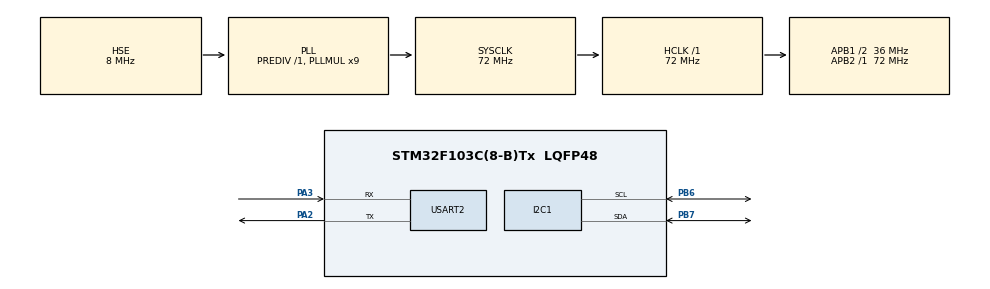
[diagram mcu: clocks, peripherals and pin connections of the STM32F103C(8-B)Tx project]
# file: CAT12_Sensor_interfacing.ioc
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Mcu.Family=STM32F1
Mcu.Name=STM32F103C(8-B)Tx
Mcu.Package=LQFP48
NVIC.PriorityGroup=NVIC_PRIORITYGROUP_4
PA13.Mode=Serial_Wire
PA13.Signal=SYS_JTMS-SWDIO
PA14.Mode=Serial_Wire
PA14.Signal=SYS_JTCK-SWCLK
PA2.Mode=Asynchronous
PA2.Signal=USART2_TX
PA3.Mode=Asynchronous
PA3.Signal=USART2_RX
PB6.Mode=I2C
PB6.Signal=I2C1_SCL
PB7.Mode=I2C
PB7.Signal=I2C1_SDA
PD0-OSC_IN.Mode=HSE-External-Oscillator
PD0-OSC_IN.Signal=RCC_OSC_IN
PD1-OSC_OUT.Mode=HSE-External-Oscillator
PD1-OSC_OUT.Signal=RCC_OSC_OUT
ProjectManager.HeapSize=0x200
ProjectManager.StackSize=0x400
ProjectManager.TargetToolchain=MDK-ARM V5.32
RCC.AHBFreq_Value=72000000
RCC.APB1CLKDivider=RCC_HCLK_DIV2
RCC.APB1Freq_Value=36000000
RCC.APB1TimFreq_Value=72000000
RCC.APB2Freq_Value=72000000
RCC.APB2TimFreq_Value=72000000
RCC.HCLKFreq_Value=72000000
RCC.PLLMUL=RCC_PLL_MUL9
RCC.PLLSourceVirtual=RCC_PLLSOURCE_HSE
RCC.SYSCLKFreq_VALUE=72000000
RCC.SYSCLKSource=RCC_SYSCLKSOURCE_PLLCLK
RCC.USBFreq_Value=72000000
USART2.VirtualMode=VM_ASYNC
board=custom

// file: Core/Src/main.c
/* USER CODE BEGIN Header */
/**
  ******************************************************************************
  * @file           : main.c
  * @brief          : Main program body
  ******************************************************************************
  * @attention
  *
  * Copyright (c) 2026 STMicroelectronics.
  * All rights reserved.
  *
  * This software is licensed under terms that can be found in the LICENSE file
  * in the root directory of this software component.
  * If no LICENSE file comes with this software, it is provided AS-IS.
  *
  ******************************************************************************
  */
/* USER CODE END Header */
#include "main.h"

/* USER CODE BEGIN Includes */
#include "bme280.h"
#include <stdio.h>
/* USER CODE END Includes */

I2C_HandleTypeDef hi2c1;

UART_HandleTypeDef huart2;

/* USER CODE BEGIN PV */
struct bme280_dev dev;
struct bme280_data comp_data;
struct bme280_settings settings;
int8_t rslt = BME280_OK;

// Variables to store final calculated values
float temperature, pressure, humidity;
char http_response[300];

/* USER CODE END PV */

void SystemClock_Config(void);
static void MX_GPIO_Init(void);
static void MX_I2C1_Init(void);
static void MX_USART2_UART_Init(void);

/* USER CODE BEGIN PFP */
int8_t user_i2c_read(uint8_t reg_addr, uint8_t *reg_data, uint32_t len, void *intf_ptr);
int8_t user_i2c_write(uint8_t reg_addr, const uint8_t *reg_data, uint32_t len, void *intf_ptr);
void user_delay_us(uint32_t period, void *intf_ptr);
/* USER CODE END PFP */

int main(void)
{

  /* MCU Configuration--------------------------------------------------------*/

  /* Reset of all peripherals, Initializes the Flash interface and the Systick. */
  HAL_Init();

  /* Configure the system clock */
  SystemClock_Config();

  /* Initialize all configured peripherals */
  MX_GPIO_Init();
  MX_I2C1_Init();
  MX_USART2_UART_Init();
  /* USER CODE BEGIN 2 */
	static uint8_t dev_addr = BME280_I2C_ADDR_PRIM; // 0x76 (use BME280_I2C_ADDR_SEC if SDO is high)
	// Set up the API configuration function pointers
	dev.intf_ptr = &dev_addr;
	dev.intf = BME280_I2C_INTF;
	dev.read = user_i2c_read;
	dev.write = user_i2c_write;
	dev.delay_us = user_delay_us;
	// Initialize the BME280 sensor (This automatically extracts the compensation data)
	rslt = bme280_init(&dev);
	// Configure sensor settings
	settings.osr_h = BME280_OVERSAMPLING_1X;
	settings.osr_p = BME280_OVERSAMPLING_1X;
	settings.osr_t = BME280_OVERSAMPLING_1X;
	settings.filter = BME280_FILTER_COEFF_OFF;
	rslt = bme280_set_sensor_settings(BME280_SEL_OSR_PRESS | BME280_SEL_OSR_TEMP |
	BME280_SEL_OSR_HUM | BME280_SEL_FILTER, &settings ,&dev);
	// Set power mode to normal to enable continuous measurement cycles
	rslt = bme280_set_sensor_mode(BME280_POWERMODE_NORMAL, &dev);
  /* USER CODE END 2 */

  /* Infinite loop */
  /* USER CODE BEGIN WHILE */
  while (1) {
    /* USER CODE BEGIN 3 */
    // 1. Read and compensate BME280 sensor data
    rslt = bme280_get_sensor_data(BME280_ALL, &comp_data, &dev);
    if (rslt == BME280_OK) {
      temperature = comp_data.temperature; // �C
      pressure = comp_data.pressure / 100.0f; // Convert Pa to hPa
      humidity = comp_data.humidity; // % Relative Humidity
      }
    }
 }

/* USER CODE END 3 */

void SystemClock_Config(void)
{
  RCC_OscInitTypeDef RCC_OscInitStruct = {0};
  RCC_ClkInitTypeDef RCC_ClkInitStruct = {0};

  /** Initializes the RCC Oscillators according to the specified parameters
  * in the RCC_OscInitTypeDef structure.
  */
  RCC_OscInitStruct.OscillatorType = RCC_OSCILLATORTYPE_HSE;
  RCC_OscInitStruct.HSEState = RCC_HSE_ON;
  RCC_OscInitStruct.HSEPredivValue = RCC_HSE_PREDIV_DIV1;
  RCC_OscInitStruct.HSIState = RCC_HSI_ON;
  RCC_OscInitStruct.PLL.PLLState = RCC_PLL_ON;
  RCC_OscInitStruct.PLL.PLLSource = RCC_PLLSOURCE_HSE;
  RCC_OscInitStruct.PLL.PLLMUL = RCC_PLL_MUL9;
  if (HAL_RCC_OscConfig(&RCC_OscInitStruct) != HAL_OK)
  {
    Error_Handler();
  }

  /** Initializes the CPU, AHB and APB buses clocks
  */
  RCC_ClkInitStruct.ClockType = RCC_CLOCKTYPE_HCLK|RCC_CLOCKTYPE_SYSCLK
                              |RCC_CLOCKTYPE_PCLK1|RCC_CLOCKTYPE_PCLK2;
  RCC_ClkInitStruct.SYSCLKSource = RCC_SYSCLKSOURCE_PLLCLK;
  RCC_ClkInitStruct.AHBCLKDivider = RCC_SYSCLK_DIV1;
  RCC_ClkInitStruct.APB1CLKDivider = RCC_HCLK_DIV2;
  RCC_ClkInitStruct.APB2CLKDivider = RCC_HCLK_DIV1;

  if (HAL_RCC_ClockConfig(&RCC_ClkInitStruct, FLASH_LATENCY_2) != HAL_OK)
  {
    Error_Handler();
  }
}

static void MX_I2C1_Init(void)
{

  hi2c1.Instance = I2C1;
  hi2c1.Init.ClockSpeed = 100000;
  hi2c1.Init.DutyCycle = I2C_DUTYCYCLE_2;
  hi2c1.Init.OwnAddress1 = 0;
  hi2c1.Init.AddressingMode = I2C_ADDRESSINGMODE_7BIT;
  hi2c1.Init.DualAddressMode = I2C_DUALADDRESS_DISABLE;
  hi2c1.Init.OwnAddress2 = 0;
  hi2c1.Init.GeneralCallMode = I2C_GENERALCALL_DISABLE;
  hi2c1.Init.NoStretchMode = I2C_NOSTRETCH_DISABLE;
  if (HAL_I2C_Init(&hi2c1) != HAL_OK)
  {
    Error_Handler();
  }

}

static void MX_USART2_UART_Init(void)
{

  huart2.Instance = USART2;
  huart2.Init.BaudRate = 115200;
  huart2.Init.WordLength = UART_WORDLENGTH_8B;
  huart2.Init.StopBits = UART_STOPBITS_1;
  huart2.Init.Parity = UART_PARITY_NONE;
  huart2.Init.Mode = UART_MODE_TX_RX;
  huart2.Init.HwFlowCtl = UART_HWCONTROL_NONE;
  huart2.Init.OverSampling = UART_OVERSAMPLING_16;
  if (HAL_UART_Init(&huart2) != HAL_OK)
  {
    Error_Handler();
  }

}

static void MX_GPIO_Init(void)
{

  /* GPIO Ports Clock Enable */
  __HAL_RCC_GPIOD_CLK_ENABLE();
  __HAL_RCC_GPIOA_CLK_ENABLE();
  __HAL_RCC_GPIOB_CLK_ENABLE();

}

/* USER CODE BEGIN 4 */
	int8_t user_i2c_read(uint8_t reg_addr, uint8_t *reg_data, uint32_t len, void *intf_ptr) {
    uint8_t dev_addr = *(uint8_t*)intf_ptr;
    if (HAL_I2C_Mem_Read(&hi2c1, (dev_addr << 1), reg_addr, I2C_MEMADD_SIZE_8BIT, reg_data, len, HAL_MAX_DELAY) == HAL_OK) {
        return BME280_OK;
    }
    return BME280_E_COMM_FAIL;
}

int8_t user_i2c_write(uint8_t reg_addr, const uint8_t *reg_data, uint32_t len, void *intf_ptr) {
    uint8_t dev_addr = *(uint8_t*)intf_ptr;
    if (HAL_I2C_Mem_Write(&hi2c1, (dev_addr << 1), reg_addr, I2C_MEMADD_SIZE_8BIT, (uint8_t*)reg_data, len, HAL_MAX_DELAY) == HAL_OK) {
        return BME280_OK;
    }
    return BME280_E_COMM_FAIL;
}

void user_delay_us(uint32_t period, void *intf_ptr) {
    HAL_Delay((period / 1000) + 1);
}
/* USER CODE END 4 */

void Error_Handler(void)
{
  __disable_irq();
  while (1)
  {
  }
}
